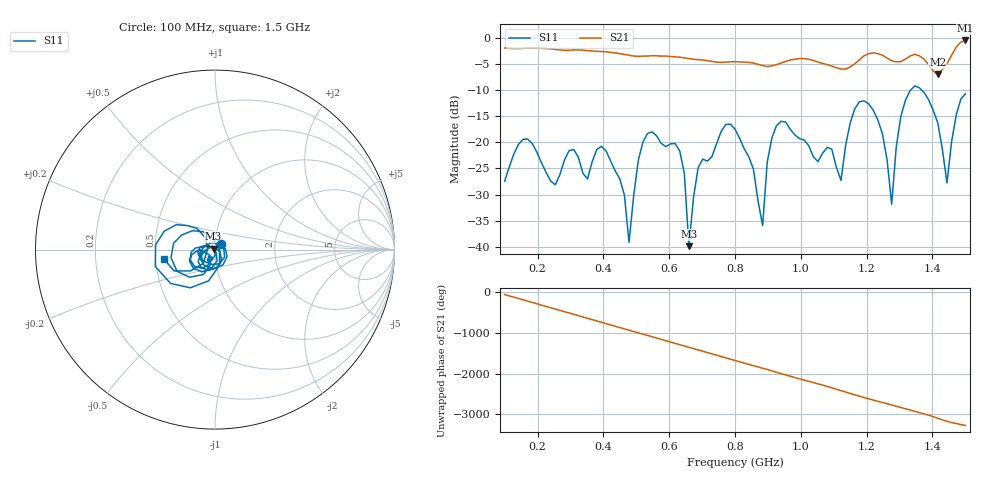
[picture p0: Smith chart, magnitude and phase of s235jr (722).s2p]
! NanoVNA-App
! Date: 2025-09-25 15:09:47
! Start: 100MHz Stop: 1,5GHz Points: 101
! S-Parameter data: F S11 S21 S12 S22
# Hz S RI R 50
!  Frequency  S11_Real  S11_Imag  S21_Real  S21_Imag  S12_Real  S12_Imag  S22_Real  S22_Imag
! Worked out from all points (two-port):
!   101 points, 100 MHz to 1.5 GHz, reference 50 ohm
!   highest |S21| = -0.53 dB at 1.5 GHz (marker M1); lowest = -7.0 dB at 1.416 GHz (marker M2)
!   |S21| within 3 dB of the highest: start of sweep to 497.5 MHz; 1.191 GHz to 1.252 GHz (61.64 MHz wide, 5.05 % of centre) (the widest 2 of 6)
!   lowest |S11| = -39.9 dB at 660 MHz (marker M3), VSWR 1.02, Z = 49.2 + j0.581 ohm
!   |S11| at or under -10 dB: start of sweep to 1.334 GHz; 1.367 GHz to end of sweep
!   S12 and S22 are empty: the file has one direction only
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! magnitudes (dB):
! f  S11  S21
! 100 MHz  -27.5  -2.0
! 156 MHz  -19.4  -2.0
! 338 MHz  -26.0  -2.4
! 408 MHz  -21.6  -2.7
! 478 MHz  -39.2  -3.4
! 520 MHz  -20.0  -3.5
! 576 MHz  -20.2  -3.5
! 632 MHz  -21.7  -3.7
! 660 MHz  -39.9  -4.0
! 688 MHz  -24.9  -4.2
! 800 MHz  -17.5  -4.6
! 884 MHz  -35.9  -5.3
! 926 MHz  -16.8  -5.2
! 1.038 GHz  -22.8  -4.4
! 1.122 GHz  -27.3  -6.0
! 1.192 GHz  -12.1  -3.5
! 1.248 GHz  -18.4  -3.4
! 1.276 GHz  -31.9  -4.4
! 1.332 GHz  -10.1  -3.5
! 1.416 GHz  -16.3  -7.0
! 1.444 GHz  -27.8  -5.0
! 1.5 GHz  -10.7  -0.5
